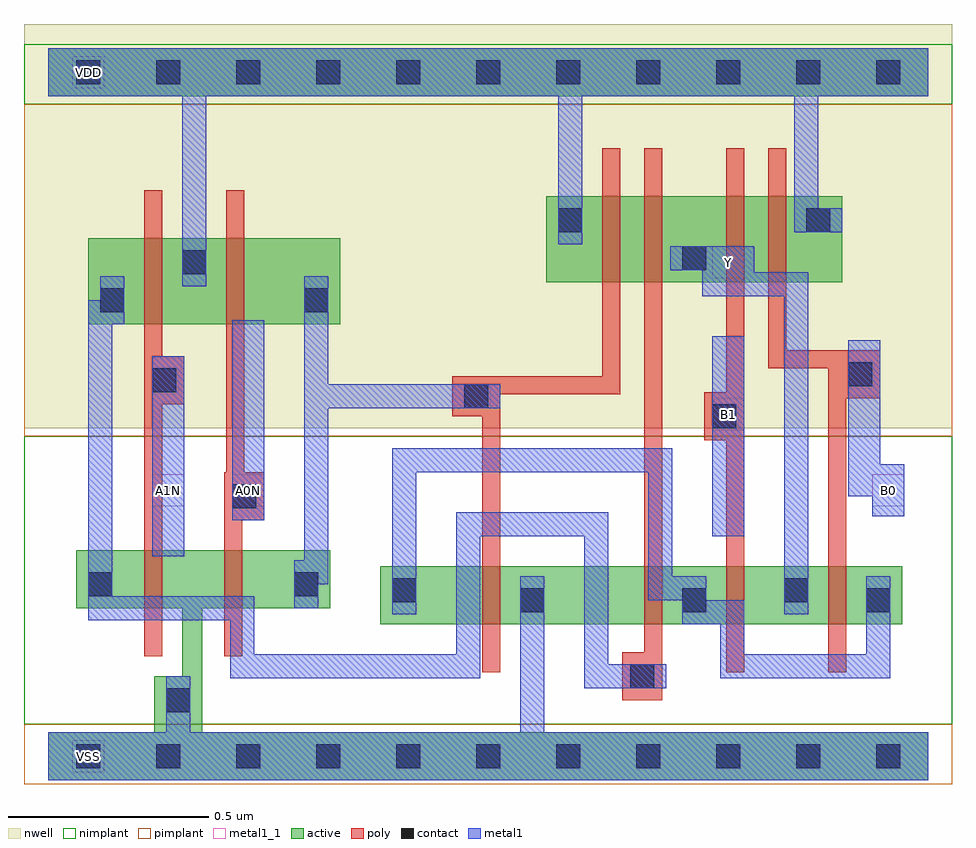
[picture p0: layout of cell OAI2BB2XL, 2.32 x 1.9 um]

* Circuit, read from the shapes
.subckt OAI2BB2XL A0N A1N B0 B1 VDD VSS Y
M1 VSS A1N n1 VSS nfet w=0.145u l=0.045u
M2 n2 A0N VSS VSS nfet w=0.145u l=0.045u
M3 VSS n2 n3 VSS nfet w=0.145u l=0.045u
M4 n3 n1 VSS VSS nfet w=0.145u l=0.045u
M5 Y B1 n3 VSS nfet w=0.145u l=0.045u
M6 n3 B0 Y VSS nfet w=0.145u l=0.045u
M7 VDD A1N n1 VDD pfet w=0.215u l=0.045u
M8 n2 A0N VDD VDD pfet w=0.215u l=0.045u
M9 n4 n2 VDD VDD pfet w=0.215u l=0.045u
M10 Y n1 n4 VDD pfet w=0.215u l=0.045u
M11 n5 B1 Y VDD pfet w=0.215u l=0.045u
M12 VDD B0 n5 VDD pfet w=0.215u l=0.045u
.ends

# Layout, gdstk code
import gdstk
lib = gdstk.Library(unit=1e-6, precision=5e-10)
def R(c, l, rs):  # rectangles x0, y0, x1, y1
    for r in rs: c.add(gdstk.rectangle(r[:2], r[2:], *l))
def A(c, l, x, y, w, h, nx, ny, dx, dy):  # array of equal rectangles
    R(c, l, [(x+i*dx, y+j*dy, x+i*dx+w, y+j*dy+h) for i in range(nx) for j in range(ny)])
def P(c, l, *ps):  # polygons
    for p in ps: c.add(gdstk.Polygon(p, *l))
active = (1, 0)
nwell = (2, 0)
poly = (3, 0)
nimplant = (4, 0)
pimplant = (5, 0)
contact = (6, 0)
metal1 = (7, 0)
metal1_1 = (7, 1)

oai2bb2xl = lib.new_cell('OAI2BB2XL')
R(oai2bb2xl, active, [(0.83,0.33,2.135,0.475), (0.1,1.08,0.73,1.295), (1.245,1.185,1.985,1.4), (0,1.65,2.2,1.77)])
P(oai2bb2xl, active, [(0.07,0.515),(0.705,0.515),(0.705,0.37),(0.385,0.37),(0.385,0.06),(2.2,0.06),(2.2,-0.06),(0,-0.06),(0,0.06),(0.265,0.06),(0.265,0.2),(0.335,0.2),(0.335,0.37),(0.07,0.37)])
R(oai2bb2xl, nwell, [(-0.06,0.82,2.26,1.83)])
P(oai2bb2xl, poly, [(1.385,1.52),(1.43,1.52),(1.43,0.905),(1.13,0.905),(1.13,0.21),(1.085,0.21),(1.085,0.85),(1.01,0.85),(1.01,0.95),(1.385,0.95)],
  [(1.49,1.52),(1.535,1.52),(1.535,0.14),(1.435,0.14),(1.435,0.26),(1.49,0.26)],
  [(1.695,1.52),(1.74,1.52),(1.74,0.21),(1.695,0.21),(1.695,0.79),(1.64,0.79),(1.64,0.91),(1.695,0.91)],
  [(1.8,1.52),(1.845,1.52),(1.845,1.015),(2.08,1.015),(2.08,0.895),(1.995,0.895),(1.995,0.21),(1.95,0.21),(1.95,0.97),(1.8,0.97)],
  [(0.24,1.415),(0.285,1.415),(0.285,1),(0.34,1),(0.34,0.88),(0.285,0.88),(0.285,0.25),(0.24,0.25)],
  [(0.445,1.415),(0.49,1.415),(0.49,0.71),(0.54,0.71),(0.54,0.59),(0.485,0.59),(0.485,0.25),(0.44,0.25),(0.44,0.71),(0.445,0.71)])
R(oai2bb2xl, nimplant, [(-0.06,0.08,2.26,0.8), (-0.06,1.63,2.26,1.78)])
R(oai2bb2xl, pimplant, [(-0.06,-0.07,2.26,0.08), (-0.06,0.8,2.26,1.63)])
A(oai2bb2xl, contact, 0.07, -0.03, 0.06, 0.06, 11, 2, 0.2, 1.71)
R(oai2bb2xl, contact, [(0.295,0.11,0.355,0.17), (1.455,0.17,1.515,0.23), (1.18,0.36,1.24,0.42), (1.585,0.36,1.645,0.42), (2.045,0.36,2.105,0.42), (0.86,0.385,0.92,0.445), (1.84,0.385,1.9,0.445), (0.1,0.4,0.16,0.46), (0.615,0.4,0.675,0.46), (0.46,0.62,0.52,0.68), (1.66,0.82,1.72,0.88), (1.04,0.87,1.1,0.93), (0.26,0.91,0.32,0.97), (2,0.925,2.06,0.985), (0.13,1.11,0.19,1.17), (0.64,1.11,0.7,1.17), (0.335,1.205,0.395,1.265), (1.585,1.215,1.645,1.275), (1.275,1.31,1.335,1.37), (1.895,1.31,1.955,1.37)])
R(oai2bb2xl, metal1, [(0.26,0.5,0.34,1), (1.66,0.55,1.74,1.05), (0.46,0.59,0.54,1.09)])
P(oai2bb2xl, metal1, [(0,1.77),(2.2,1.77),(2.2,1.65),(1.925,1.65),(1.925,1.37),(1.985,1.37),(1.985,1.31),(1.865,1.31),(1.865,1.65),(1.335,1.65),(1.335,1.28),(1.275,1.28),(1.275,1.65),(0.395,1.65),(0.395,1.175),(0.335,1.175),(0.335,1.65),(0,1.65)],
  [(1.555,1.275),(1.765,1.275),(1.765,1.21),(1.9,1.21),(1.9,0.355),(1.84,0.355),(1.84,1.15),(1.635,1.15),(1.635,1.215),(1.555,1.215)],
  [(0.13,1.2),(0.19,1.2),(0.19,1.08),(0.16,1.08),(0.16,0.4),(0.515,0.4),(0.515,0.255),(1.02,0.255),(1.02,0.61),(1.4,0.61),(1.4,0.23),(1.545,0.23),(1.545,0.17),(1.34,0.17),(1.34,0.55),(1.08,0.55),(1.08,0.195),(0.455,0.195),(0.455,0.34),(0.1,0.34),(0.1,1.14),(0.13,1.14)],
  [(0.64,1.2),(0.7,1.2),(0.7,0.93),(1.13,0.93),(1.13,0.87),(0.7,0.87),(0.7,0.43),(0.675,0.43),(0.675,0.37),(0.615,0.37),(0.615,0.49),(0.64,0.49)],
  [(0.86,0.77),(1.56,0.77),(1.56,0.45),(1.645,0.45),(1.645,0.39),(1.74,0.39),(1.74,0.255),(2.045,0.255),(2.045,0.45),(2.105,0.45),(2.105,0.195),(1.68,0.195),(1.68,0.33),(1.585,0.33),(1.585,0.39),(1.5,0.39),(1.5,0.71),(0.92,0.71),(0.92,0.355),(0.86,0.355)],
  [(0.295,0.2),(0.355,0.2),(0.355,0.06),(1.18,0.06),(1.18,0.45),(1.24,0.45),(1.24,0.06),(2.2,0.06),(2.2,-0.06),(0,-0.06),(0,0.06),(0.295,0.06)],
  [(2,1.04),(2.08,1.04),(2.08,0.73),(2.14,0.73),(2.14,0.6),(2.06,0.6),(2.06,0.65),(2,0.65)])
R(oai2bb2xl, metal1_1, [(0.06,-0.04,0.14,0.04), (0.26,0.625,0.34,0.705), (0.46,0.625,0.54,0.705), (2.06,0.625,2.14,0.705), (1.66,0.815,1.74,0.895), (1.66,1.195,1.74,1.275), (0.06,1.67,0.14,1.75)])
oai2bb2xl.add(gdstk.Label('Y', (1.7,1.235), layer=7, texttype=1))
oai2bb2xl.add(gdstk.Label('B0', (2.1,0.665), layer=7, texttype=1))
oai2bb2xl.add(gdstk.Label('B1', (1.7,0.855), layer=7, texttype=1))
oai2bb2xl.add(gdstk.Label('A0N', (0.5,0.665), layer=7, texttype=1))
oai2bb2xl.add(gdstk.Label('A1N', (0.3,0.665), layer=7, texttype=1))
oai2bb2xl.add(gdstk.Label('VDD', (0.1,1.71), layer=7, texttype=1))
oai2bb2xl.add(gdstk.Label('VSS', (0.1,0), layer=7, texttype=1))
oai2bb2xl.add(gdstk.Label('OAI2BB2XL', (0,0), layer=63, texttype=0))

lib.write_gds('OAI2BB2XL.gds')
